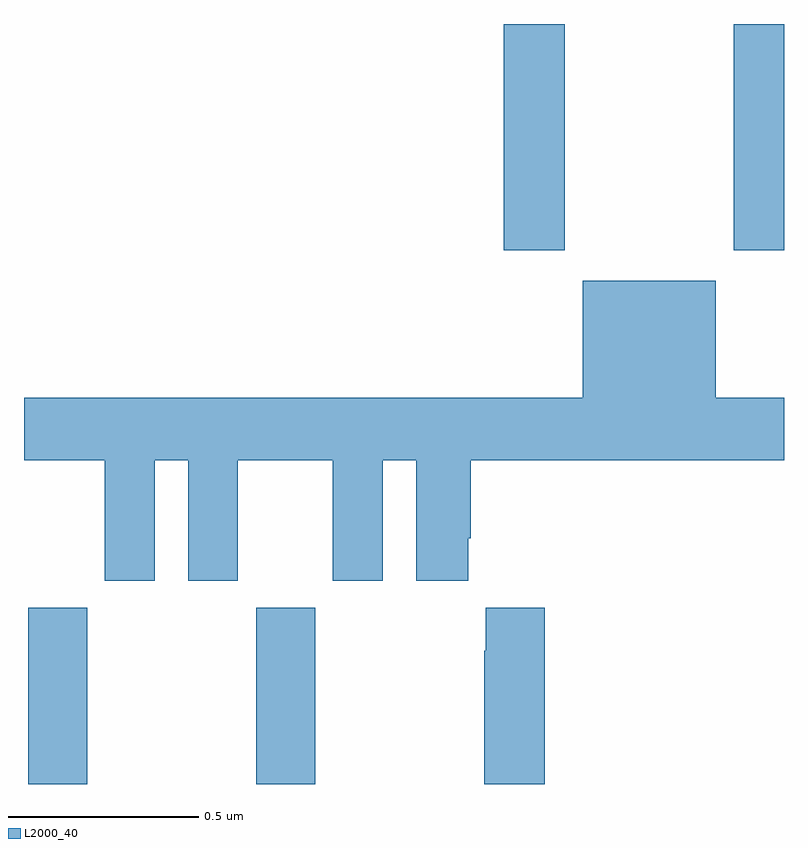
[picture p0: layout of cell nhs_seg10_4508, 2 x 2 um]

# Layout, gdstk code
import gdstk
lib = gdstk.Library(unit=1e-6, precision=1e-09)
def R(c, l, rs):  # rectangles x0, y0, x1, y1
    for r in rs: c.add(gdstk.rectangle(r[:2], r[2:], *l))
def P(c, l, *ps):  # polygons
    for p in ps: c.add(gdstk.Polygon(p, *l))
L2000_40 = (2000, 40)

nhs_seg10_4508 = lib.new_cell('nhs_seg10_4508')
R(nhs_seg10_4508, L2000_40, [(167.011,1263.5,167.166,1263.964), (167.611,1263.5,167.766,1263.964), (168.263,1264.905,168.423,1265.5), (168.868,1264.905,169,1265.5)])
P(nhs_seg10_4508, L2000_40, [(167.344,1264.352),(167.432,1264.352),(167.432,1264.035),(167.563,1264.035),(167.563,1264.352),(167.813,1264.352),(167.813,1264.035),(167.944,1264.035),(167.944,1264.352),(168.032,1264.352),(168.032,1264.035),(168.169,1264.035),(168.169,1264.147),(168.176,1264.147),(168.176,1264.352),(169,1264.352),(169,1264.516),(168.82,1264.516),(168.82,1264.825),(168.47,1264.825),(168.47,1264.516),(167,1264.516),(167,1264.352),(167.213,1264.352),(167.213,1264.035),(167.344,1264.035)],
  [(168.371,1263.964),(168.215,1263.964),(168.215,1263.851),(168.211,1263.851),(168.211,1263.5),(168.371,1263.5)])

lib.write_gds('nhs_seg10_4508.gds')
